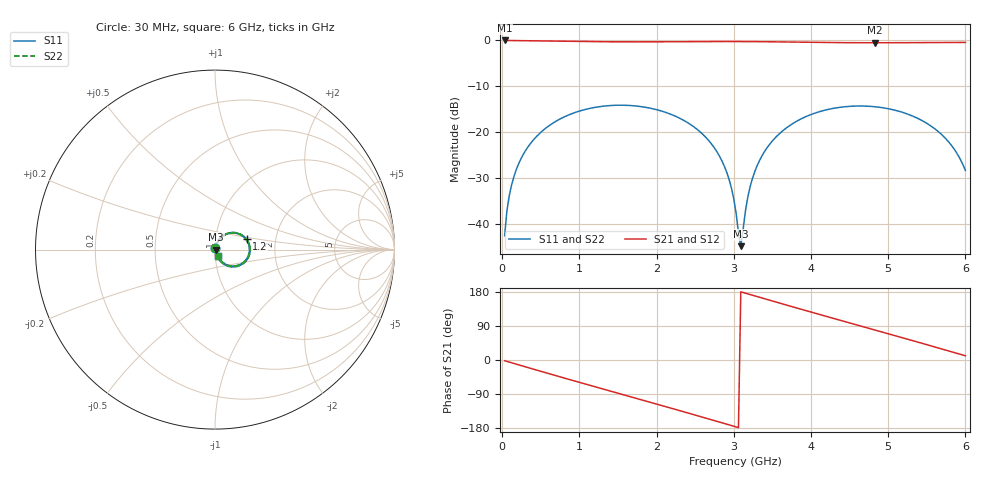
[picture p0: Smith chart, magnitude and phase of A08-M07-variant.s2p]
! yapnr Order 0 O0-M: O0-M A08 M0.7 30 (variant, family M0.7)
! stackup OSHPARK-4L-FR408HR, nominal parameters; geometry of the OSHPARK-4L-FR408HR design
! model: 2D quasi-static RLGC (Djordjevic-Sarkar, Huray roughness, Wheeler loss); generated by python -m yapnr.rf.coupons expected --stackup OSHPARK-4L-FR408HR --upload M
! reference planes 10 mm from each end; 50 ohm (from the M line's Zc)
# GHz S DB R 50
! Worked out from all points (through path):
!   200 points, 30 MHz to 6 GHz, reference 50 ohm
!   highest |S21| = -0.01 dB at 30 MHz (marker M1); lowest = -0.5 dB at 4.83 GHz (marker M2)
!   group delay of S21, straight-line fit = 161 ps
!   lowest |S11| = -44.9 dB at 3.09 GHz (marker M3), VSWR 1.01, Z = 50.6 + j0.0392 ohm
!   |S11| at or under -10 dB: start of sweep to end of sweep
!   |S22| runs from -44.9 to -14.1 dB; largest |S21 - S12| = 0
!   S11 on the Smith chart (normalised r, x): 30 MHz: 1.00, +0.01; 1.2 GHz: 1.42, +0.17; 6 GHz: 1.03, -0.07
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0.03  -42.65 76.7  -0.01 -1.9  -0.01 -1.9  -42.65 76.7
0.06  -37.20 78.0  -0.02 -3.7  -0.02 -3.7  -37.20 78.0
0.12  -31.59 76.7  -0.03 -7.3  -0.03 -7.3  -31.59 76.7
0.3  -24.10 68.3  -0.07 -18.1  -0.07 -18.1  -24.10 68.3
0.6  -18.70 51.8  -0.14 -35.8  -0.14 -35.8  -18.70 51.8
1.05  -15.19 26.5  -0.25 -62.0  -0.25 -62.0  -15.19 26.5
1.2  -14.63 18.1  -0.28 -70.6  -0.28 -70.6  -14.63 18.1
1.62  -14.18 -5.3  -0.32 -94.6  -0.32 -94.6  -14.18 -5.3
2.04  -15.32 -28.6  -0.31 -118.6  -0.31 -118.6  -15.32 -28.6
2.73  -23.06 -65.5  -0.25 -158.8  -0.25 -158.8  -23.06 -65.5
2.91  -28.91 -71.5  -0.25 -169.5  -0.25 -169.5  -28.91 -71.5
3.03  -37.83 -61.4  -0.25 -176.6  -0.25 -176.6  -37.83 -61.4
3.09  -44.93 3.9  -0.25 179.9  -0.25 179.9  -44.93 3.9
3.21  -32.01 69.0  -0.26 172.8  -0.26 172.8  -32.01 69.0
3.36  -25.35 67.3  -0.28 163.9  -0.28 163.9  -25.35 67.3
3.63  -19.78 54.6  -0.33 148.0  -0.33 148.0  -19.78 54.6
4.02  -16.06 33.6  -0.42 125.4  -0.42 125.4  -16.06 33.6
4.44  -14.48 10.6  -0.50 101.3  -0.50 101.3  -14.48 10.6
4.83  -14.49 -10.7  -0.52 79.1  -0.52 79.1  -14.49 -10.7
5.01  -14.95 -20.5  -0.52 68.8  -0.52 68.8  -14.95 -20.5
5.64  -19.79 -53.5  -0.46 32.3  -0.46 32.3  -19.79 -53.5
6  -28.39 -64.8  -0.44 11.2  -0.44 11.2  -28.39 -64.8
